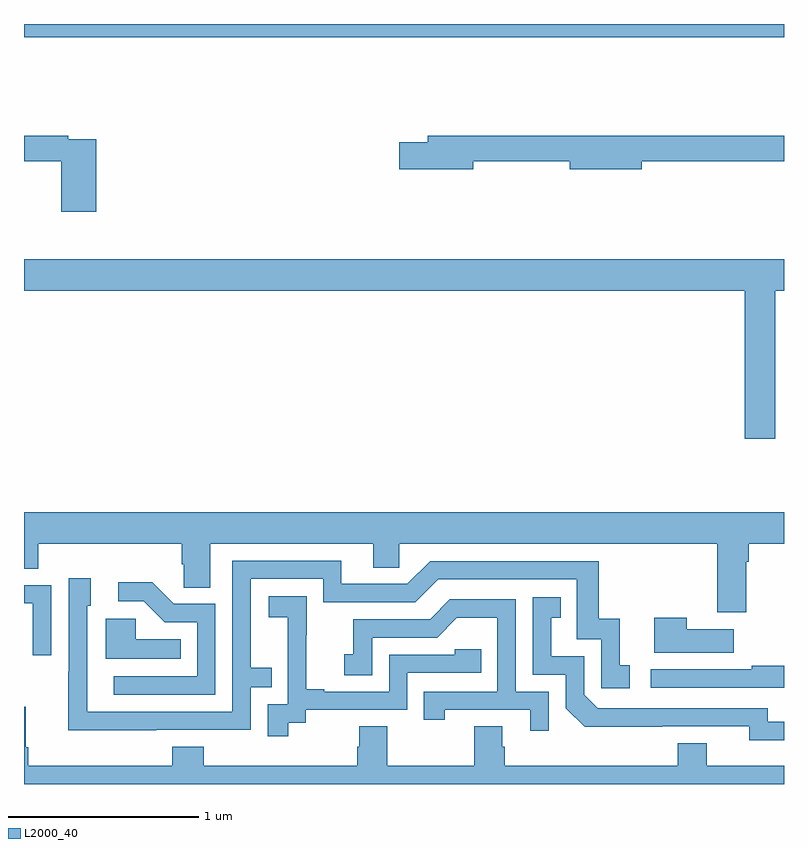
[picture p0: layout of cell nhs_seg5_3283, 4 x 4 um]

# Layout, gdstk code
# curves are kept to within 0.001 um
import gdstk
lib = gdstk.Library(unit=1e-6, precision=1e-09)
def R(c, l, rs):  # rectangles x0, y0, x1, y1
    for r in rs: c.add(gdstk.rectangle(r[:2], r[2:], *l))
def P(c, l, *ps):  # polygons
    for p in ps: c.add(gdstk.Polygon(p, *l))
L2000_40 = (2000, 40)

nhs_seg5_3283 = lib.new_cell('nhs_seg5_3283')
R(nhs_seg5_3283, L2000_40, [(301,888.728,305,888.799)])
P(nhs_seg5_3283, L2000_40, [(301.379,888.192),(301.232,888.192),(301.232,888.212),(301,888.212),(301,888.076),(301.196,888.076),(301.196,887.811),(301.379,887.811)],
  [(303.364,888.076),(303.872,888.076),(303.872,888.034),(304.252,888.034),(304.252,888.076),(305,888.076),(305,888.212),(303.125,888.212),(303.125,888.176),(302.976,888.176),(302.976,888.034),(303.364,888.034)],
  [(304.953,887.396),(305,887.396),(305,887.56),(301,887.56),(301,887.396),(304.793,887.396),(304.793,886.617),(304.953,886.617)],
  [(304.801,885.968),(304.814,885.968),(304.814,886.064),(305,886.064),(305,886.228),(301,886.228),(301,885.931),(301.076,885.931),(301.076,886.064),(301.829,886.064),(301.829,885.955),(301.842,885.955),(301.842,885.832),(301.981,885.832),(301.981,886.064),(302.837,886.064),(302.837,885.937),(302.976,885.937),(302.976,886.064),(304.649,886.064),(304.649,885.702),(304.801,885.702)],
  [(301.697,885.084),(302.193,885.084),(302.193,885.309),(302.303,885.309),(302.303,885.41),(302.193,885.41),(302.193,885.879),(302.574,885.879),(302.574,885.756),(303.06,885.756),(303.18,885.876),(303.909,885.876),(303.909,885.561),(304.038,885.561),(304.038,885.303),(304.189,885.303),(304.189,885.423),(304.136,885.423),(304.136,885.67),(304.025,885.67),(304.025,885.972),(303.138,885.972),(303.018,885.852),(302.671,885.852),(302.671,885.975),(302.097,885.975),(302.097,885.18),(301.333,885.18),(301.332,885.738),(301.351,885.738),(301.351,885.883),(301.236,885.883),(301.236,885.389),(301.234,885.389),(301.234,885.083)],
  [(302.007,885.747),(301.788,885.747),(301.675,885.86),(301.497,885.86),(301.497,885.762),(301.631,885.762),(301.742,885.651),(301.911,885.651),(301.911,885.366),(301.473,885.366),(301.473,885.27),(302.007,885.27)],
  [(301.143,885.846),(301,885.846),(301,885.75),(301.047,885.75),(301.047,885.477),(301.143,885.477)],
  [(302.392,885.121),(302.484,885.121),(302.484,885.189),(303.018,885.189),(303.018,885.384),(303.407,885.384),(303.407,885.507),(303.267,885.507),(303.267,885.48),(302.922,885.48),(302.922,885.285),(302.581,885.285),(302.581,885.298),(302.486,885.298),(302.486,885.581),(302.487,885.581),(302.487,885.787),(302.289,885.787),(302.289,885.677),(302.387,885.677),(302.387,885.449),(302.388,885.449),(302.388,885.219),(302.283,885.219),(302.283,885.051),(302.392,885.051)],
  [(305,885.126),(304.914,885.126),(304.914,885.198),(304.02,885.198),(303.948,885.27),(303.948,885.471),(303.775,885.471),(303.775,885.675),(303.824,885.675),(303.824,885.781),(303.678,885.781),(303.678,885.375),(303.852,885.375),(303.852,885.198),(303.95,885.101),(304.818,885.102),(304.818,885.029),(305,885.029)],
  [(303.762,885.285),(303.588,885.285),(303.588,885.771),(303.242,885.771),(303.137,885.666),(302.734,885.666),(302.734,885.481),(302.685,885.481),(302.685,885.372),(302.832,885.372),(302.832,885.57),(303.174,885.57),(303.278,885.674),(303.492,885.674),(303.492,885.285),(303.103,885.285),(303.103,885.138),(303.214,885.138),(303.214,885.189),(303.665,885.189),(303.665,885.078),(303.762,885.078)],
  [(304.735,885.613),(304.487,885.613),(304.487,885.673),(304.316,885.673),(304.316,885.491),(304.735,885.491)],
  [(301.826,885.562),(301.587,885.562),(301.587,885.67),(301.43,885.67),(301.43,885.458),(301.826,885.458)],
  [(305,885.422),(304.831,885.422),(304.831,885.402),(304.299,885.402),(304.299,885.306),(305,885.306)],
  [(305,884.896),(304.594,884.896),(304.594,885.013),(304.442,885.013),(304.442,884.896),(303.53,884.896),(303.53,884.994),(303.517,884.994),(303.517,885.104),(303.37,885.104),(303.37,884.896),(302.913,884.896),(302.913,885.104),(302.765,885.104),(302.765,884.994),(302.753,884.994),(302.753,884.896),(301.946,884.896),(301.946,884.995),(301.781,884.995),(301.781,884.896),(301.022,884.896),(301.022,884.992),(301.009,884.992),(301.009,885.205),(301,885.205),(301,884.799),(305,884.799)])

lib.write_gds('nhs_seg5_3283.gds')
